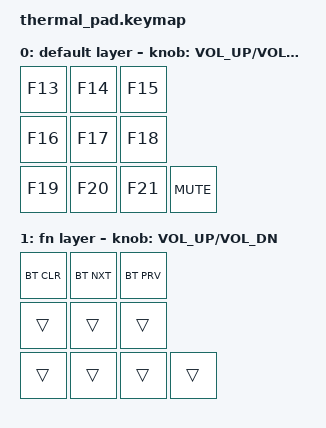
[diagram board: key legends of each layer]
#include <behaviors.dtsi>
#include <dt-bindings/zmk/bt.h>
#include <dt-bindings/zmk/keys.h>

#define DEFAULT 0
#define FUNC    1

/ {
    combos {
        compatible = "zmk,combos";

        combo_bootloader {
            timeout-ms = <50>;
            key-positions = <4 5 6>;
            bindings = <&bootloader>;
        };

        combo_layer {
            timeout-ms = <50>;
            key-positions = <0 1>;
            bindings = <&tog FUNC>;
        };
    };
};

/ {
    macros {
        name_this: name_this {
            compatible = "zmk,behavior-macro";
            #binding-cells = <0>;
            bindings =
                <&macro_press>,
                <&kp LSHFT>,
                <&macro_tap>,
                <&kp T &kp H &kp E &kp R &kp M &kp A &kp L>,
                <&macro_release>,
                <&kp LSHFT>;
        };
    };
};

/ {
    keymap {
        compatible = "zmk,keymap";

        default_layer {
            display-name = "default layer";
            bindings = <
&kp F13  &kp F14  &kp F15
&kp F16  &kp F17  &kp F18
&kp F19  &kp F20  &kp F21  &kp C_MUTE
            >;

            sensor-bindings = <&inc_dec_kp C_VOL_UP C_VOL_DN>;
        };

        fn_layer {
            display-name = "fn layer";
            bindings = <
&bt BT_CLR  &bt BT_NXT  &bt BT_PRV
&trans      &trans      &trans
&trans      &trans      &trans      &trans
            >;

            sensor-bindings = <&inc_dec_kp C_VOL_UP C_VOL_DN>;
        };
    };
};
